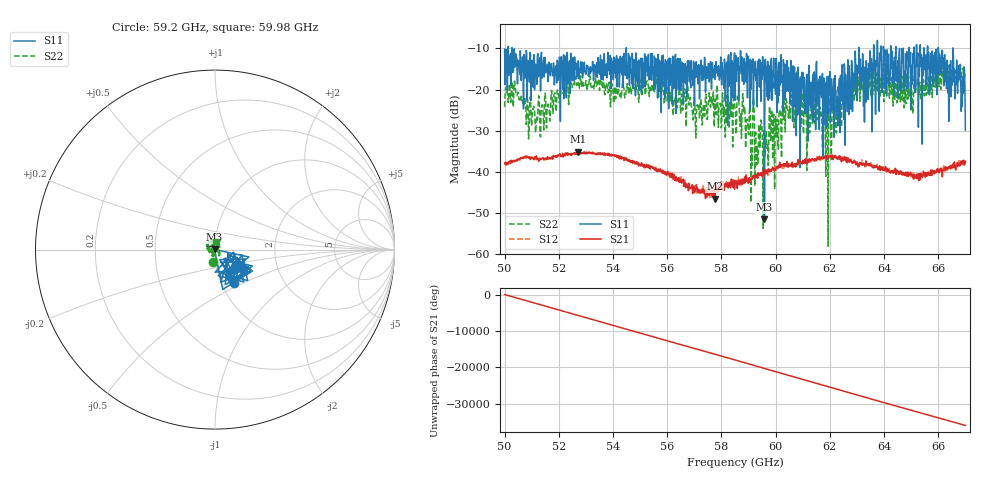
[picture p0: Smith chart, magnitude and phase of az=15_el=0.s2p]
!Created with skrf (http://scikit-rf.org).
# GHz S RI R 50.0
!freq ReS11 ImS11 ReS21 ImS21 ReS12 ImS12 ReS22 ImS22
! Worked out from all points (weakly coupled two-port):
!   1001 points, 50 GHz to 67 GHz, reference 50 ohm
!   highest |S21| = -35.08 dB at 52.72 GHz (marker M1); lowest = -46.5 dB at 57.75 GHz (marker M2)
!   lowest |S11| = -51.4 dB at 59.59 GHz (marker M3), VSWR 1.01, Z = 49.7 + j0.0575 ohm
!   |S11| at or under -10 dB: 50.27 GHz to 54.49 GHz (4.215 GHz wide, 8.05 % of centre); 54.49 GHz to 63.07 GHz (8.583 GHz wide, 14.6 % of centre); 63.07 GHz to 63.61 GHz (540 MHz wide, 0.852 % of centre) (the widest 3 of 20)
!   |S22| runs from -58.0 to -14.0 dB; largest |S21 - S12| = 0.0024
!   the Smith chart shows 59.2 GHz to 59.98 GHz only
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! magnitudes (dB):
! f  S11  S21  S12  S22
! 50 GHz  -10.1  -37.9  -38.2  -24.2
! 50.34 GHz  -13.7  -37.3  -37.1  -19.9
! 51.38 GHz  -17.0  -36.7  -36.8  -23.9
! 52.72 GHz  -13.0  -35.1  -35.4  -18.3
! 52.84 GHz  -14.1  -35.3  -35.3  -19.4
! 55.68 GHz  -13.4  -39.3  -39.4  -22.2
! 56.99 GHz  -14.8  -43.4  -44.0  -21.9
! 57.75 GHz  -14.2  -46.5  -44.8  -23.6
! 58.5 GHz  -22.6  -43.1  -43.4  -24.6
! 59.59 GHz  -51.4  -40.7  -40.5  -29.9
! 59.84 GHz  -12.4  -39.8  -39.3  -25.5
! 60.03 GHz  -14.8  -38.8  -39.0  -31.5
! 60.64 GHz  -14.2  -38.1  -37.8  -22.1
! 61.34 GHz  -26.3  -36.7  -37.2  -25.2
! 62 GHz  -15.6  -36.1  -35.9  -24.7
! 62.04 GHz  -18.9  -36.4  -36.3  -30.9
! 62.6 GHz  -19.9  -36.4  -37.5  -19.3
! 64.18 GHz  -18.9  -39.7  -39.3  -18.5
! 66.08 GHz  -15.8  -39.4  -39.3  -15.5
! 66.42 GHz  -15.5  -39.1  -39.0  -16.4
! 66.75 GHz  -17.7  -38.2  -37.9  -18.3
! 67 GHz  -29.8  -37.5  -37.1  -15.7
